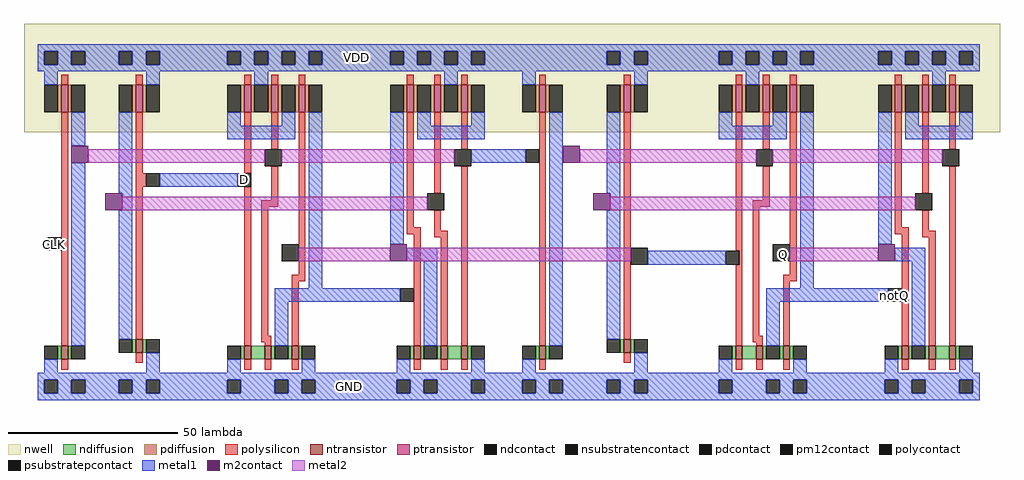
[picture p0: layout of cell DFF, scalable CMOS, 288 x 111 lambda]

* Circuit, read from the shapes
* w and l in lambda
.subckt DFF CLK D GND Q VDD notQ
M1 n1 CLK GND GND nfet w=4 l=2
M2 GND D n2 GND nfet w=4 l=2
M3 n3 D GND GND nfet w=4 l=2
M4 n4 n1 n3 GND nfet w=4 l=2
M5 GND n5 n4 GND nfet w=4 l=2
M6 n5 n4 GND GND nfet w=4 l=2
M7 n6 n2 n5 GND nfet w=4 l=2
M8 GND n1 n6 GND nfet w=4 l=2
M9 n7 n1 GND GND nfet w=4 l=2
M10 GND n5 n8 GND nfet w=4 l=2
M11 n9 n5 GND GND nfet w=4 l=2
M12 notQ n7 n9 GND nfet w=4 l=2
M13 GND Q notQ GND nfet w=4 l=2
M14 Q notQ GND GND nfet w=4 l=2
M15 n10 n8 Q GND nfet w=4 l=2
M16 GND n7 n10 GND nfet w=4 l=2
M17 n1 CLK VDD VDD pfet w=8 l=2
M18 VDD D n2 VDD pfet w=8 l=2
M19 VDD D n11 VDD pfet w=8 l=2
M20 n11 n1 VDD VDD pfet w=8 l=2
M21 n4 n5 n11 VDD pfet w=8 l=2
M22 n12 n4 n5 VDD pfet w=8 l=2
M23 VDD n2 n12 VDD pfet w=8 l=2
M24 n12 n1 VDD VDD pfet w=8 l=2
M25 n7 n1 VDD VDD pfet w=8 l=2
M26 VDD n5 n8 VDD pfet w=8 l=2
M27 VDD n5 n13 VDD pfet w=8 l=2
M28 n13 n7 VDD VDD pfet w=8 l=2
M29 notQ Q n13 VDD pfet w=8 l=2
M30 n14 notQ Q VDD pfet w=8 l=2
M31 VDD n8 n14 VDD pfet w=8 l=2
M32 n14 n7 VDD VDD pfet w=8 l=2
.ends

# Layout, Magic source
magic
tech scmos
<< nwell >>
rect -70 29 218 61
<< ntransistor >>
rect -59 -38 -57 -34
rect -37 -36 -35 -32
rect -5 -38 -3 -34
rect 1 -38 3 -34
rect 9 -38 11 -34
rect 45 -38 47 -34
rect 53 -38 55 -34
rect 59 -38 61 -34
rect 82 -38 84 -34
rect 107 -36 109 -32
rect 140 -38 142 -34
rect 146 -38 148 -34
rect 154 -38 156 -34
rect 189 -38 191 -34
rect 197 -38 199 -34
rect 203 -38 205 -34
<< ptransistor >>
rect -59 35 -57 43
rect -37 35 -35 43
rect -5 35 -3 43
rect 3 35 5 43
rect 11 35 13 43
rect 43 35 45 43
rect 51 35 53 43
rect 59 35 61 43
rect 82 35 84 43
rect 107 35 109 43
rect 140 35 142 43
rect 148 35 150 43
rect 156 35 158 43
rect 187 35 189 43
rect 195 35 197 43
rect 203 35 205 43
<< ndiffusion >>
rect -60 -38 -59 -34
rect -57 -38 -56 -34
rect -38 -36 -37 -32
rect -35 -36 -34 -32
rect -6 -38 -5 -34
rect -3 -38 1 -34
rect 3 -38 4 -34
rect 8 -38 9 -34
rect 11 -38 12 -34
rect 44 -38 45 -34
rect 47 -38 48 -34
rect 52 -38 53 -34
rect 55 -38 59 -34
rect 61 -38 62 -34
rect 81 -38 82 -34
rect 84 -38 85 -34
rect 106 -36 107 -32
rect 109 -36 110 -32
rect 139 -38 140 -34
rect 142 -38 146 -34
rect 148 -38 149 -34
rect 153 -38 154 -34
rect 156 -38 157 -34
rect 188 -38 189 -34
rect 191 -38 192 -34
rect 196 -38 197 -34
rect 199 -38 203 -34
rect 205 -38 206 -34
<< pdiffusion >>
rect -60 35 -59 43
rect -57 35 -56 43
rect -38 35 -37 43
rect -35 35 -34 43
rect -6 35 -5 43
rect -3 35 -2 43
rect 2 35 3 43
rect 5 35 6 43
rect 10 35 11 43
rect 13 35 14 43
rect 42 35 43 43
rect 45 35 46 43
rect 50 35 51 43
rect 53 35 54 43
rect 58 35 59 43
rect 61 35 62 43
rect 81 35 82 43
rect 84 35 85 43
rect 106 35 107 43
rect 109 35 110 43
rect 139 35 140 43
rect 142 35 143 43
rect 147 35 148 43
rect 150 35 151 43
rect 155 35 156 43
rect 158 35 159 43
rect 186 35 187 43
rect 189 35 190 43
rect 194 35 195 43
rect 197 35 198 43
rect 202 35 203 43
rect 205 35 206 43
<< ndcontact >>
rect -64 -38 -60 -34
rect -56 -38 -52 -34
rect -42 -36 -38 -32
rect -34 -36 -30 -32
rect -10 -38 -6 -34
rect 4 -38 8 -34
rect 12 -38 16 -34
rect 40 -38 44 -34
rect 48 -38 52 -34
rect 62 -38 66 -34
rect 77 -38 81 -34
rect 85 -38 89 -34
rect 102 -36 106 -32
rect 110 -36 114 -32
rect 135 -38 139 -34
rect 149 -38 153 -34
rect 157 -38 161 -34
rect 184 -38 188 -34
rect 192 -38 196 -34
rect 206 -38 210 -34
<< pdcontact >>
rect -64 35 -60 43
rect -56 35 -52 43
rect -42 35 -38 43
rect -34 35 -30 43
rect -10 35 -6 43
rect -2 35 2 43
rect 6 35 10 43
rect 14 35 18 43
rect 38 35 42 43
rect 46 35 50 43
rect 54 35 58 43
rect 62 35 66 43
rect 77 35 81 43
rect 85 35 89 43
rect 102 35 106 43
rect 110 35 114 43
rect 135 35 139 43
rect 143 35 147 43
rect 151 35 155 43
rect 159 35 163 43
rect 182 35 186 43
rect 190 35 194 43
rect 198 35 202 43
rect 206 35 210 43
<< psubstratepcontact >>
rect -64 -48 -60 -44
rect -56 -48 -52 -44
rect -42 -48 -38 -44
rect -34 -48 -30 -44
rect -10 -48 -6 -44
rect 4 -48 8 -44
rect 12 -48 16 -44
rect 40 -48 44 -44
rect 48 -48 52 -44
rect 62 -48 66 -44
rect 77 -48 81 -44
rect 85 -48 89 -44
rect 102 -48 106 -44
rect 110 -48 114 -44
rect 135 -48 139 -44
rect 149 -48 153 -44
rect 157 -48 161 -44
rect 184 -48 188 -44
rect 192 -48 196 -44
rect 206 -48 210 -44
<< nsubstratencontact >>
rect -64 49 -60 53
rect -56 49 -52 53
rect -42 49 -38 53
rect -34 49 -30 53
rect -10 49 -6 53
rect -2 49 2 53
rect 6 49 10 53
rect 14 49 18 53
rect 38 49 42 53
rect 46 49 50 53
rect 54 49 58 53
rect 62 49 66 53
rect 102 49 106 53
rect 110 49 114 53
rect 135 49 139 53
rect 143 49 147 53
rect 151 49 155 53
rect 159 49 163 53
rect 182 49 186 53
rect 190 49 194 53
rect 198 49 202 53
rect 206 49 210 53
<< polysilicon >>
rect -59 43 -57 46
rect -37 43 -35 46
rect -5 43 -3 46
rect 3 43 5 46
rect 11 43 13 46
rect 43 43 45 46
rect 51 43 53 46
rect 59 43 61 46
rect 82 43 84 46
rect 107 43 109 46
rect 140 43 142 46
rect 148 43 150 46
rect 156 43 158 46
rect 187 43 189 46
rect 195 43 197 46
rect 203 43 205 46
rect -59 -34 -57 35
rect -37 17 -35 35
rect -5 17 -3 35
rect 3 24 5 35
rect -37 13 -34 17
rect -37 -32 -35 13
rect -5 -34 -3 13
rect 3 9 5 19
rect 0 7 5 9
rect 0 -31 2 7
rect 11 -13 13 35
rect 43 1 45 35
rect 51 11 53 35
rect 59 24 61 35
rect 43 -1 47 1
rect 9 -15 13 -13
rect 0 -33 3 -31
rect 1 -34 3 -33
rect 9 -34 11 -15
rect 45 -34 47 -1
rect 51 0 53 6
rect 51 -2 55 0
rect 53 -34 55 -2
rect 59 -34 61 19
rect 82 -34 84 35
rect 107 -32 109 35
rect 140 -6 142 35
rect 148 24 150 35
rect 148 9 150 19
rect 141 -10 142 -6
rect -59 -41 -57 -38
rect -37 -39 -35 -36
rect 140 -34 142 -10
rect 145 7 150 9
rect 145 -31 147 7
rect 156 -13 158 35
rect 187 1 189 35
rect 195 11 197 35
rect 203 24 205 35
rect 187 -1 191 1
rect 154 -15 158 -13
rect 145 -33 148 -31
rect 146 -34 148 -33
rect 154 -34 156 -15
rect 189 -34 191 -1
rect 195 0 197 6
rect 195 -2 199 0
rect 197 -34 199 -2
rect 203 -34 205 19
rect -5 -41 -3 -38
rect 1 -41 3 -38
rect 9 -41 11 -38
rect 45 -41 47 -38
rect 53 -41 55 -38
rect 59 -41 61 -38
rect 82 -41 84 -38
rect 107 -39 109 -36
rect 140 -41 142 -38
rect 146 -41 148 -38
rect 154 -41 156 -38
rect 189 -41 191 -38
rect 197 -41 199 -38
rect 203 -41 205 -38
<< polycontact >>
rect -63 -6 -59 -2
rect -34 13 -30 17
rect -7 13 -3 17
rect 78 20 82 24
rect 41 -21 45 -17
rect 137 -10 141 -6
rect 185 -21 189 -17
<< metal1 >>
rect -66 53 212 55
rect -66 49 -64 53
rect -60 49 -56 53
rect -52 49 -42 53
rect -38 49 -34 53
rect -30 49 -10 53
rect -6 49 -2 53
rect 2 49 6 53
rect 10 49 14 53
rect 18 49 38 53
rect 42 49 46 53
rect 50 49 54 53
rect 58 49 62 53
rect 66 49 102 53
rect 106 49 110 53
rect 114 49 135 53
rect 139 49 143 53
rect 147 49 151 53
rect 155 49 159 53
rect 163 49 182 53
rect 186 49 190 53
rect 194 49 198 53
rect 202 49 206 53
rect 210 49 212 53
rect -66 47 212 49
rect -64 43 -60 47
rect -34 43 -30 47
rect -2 43 2 47
rect 54 43 58 47
rect 77 43 81 47
rect 110 43 114 47
rect 143 43 147 47
rect 198 43 202 47
rect -56 25 -52 35
rect -56 -34 -52 20
rect -42 11 -38 35
rect -10 31 -6 35
rect 6 31 10 35
rect -10 27 10 31
rect -30 13 -7 17
rect -41 6 -38 11
rect -42 -32 -38 6
rect 14 -17 18 35
rect 38 -4 42 35
rect 46 31 50 35
rect 62 31 66 35
rect 46 27 66 31
rect 62 20 78 24
rect 43 -9 52 -5
rect 4 -21 41 -17
rect 4 -34 8 -21
rect 48 -34 52 -9
rect 85 -34 89 35
rect 102 11 106 35
rect 135 31 139 35
rect 151 31 155 35
rect 135 27 155 31
rect 103 6 106 11
rect -64 -42 -60 -38
rect -34 -42 -30 -36
rect -10 -42 -6 -38
rect 12 -42 16 -38
rect 40 -42 44 -38
rect 62 -42 66 -38
rect 102 -32 106 6
rect 114 -10 137 -6
rect 159 -17 163 35
rect 182 -4 186 35
rect 190 31 194 35
rect 206 31 210 35
rect 190 27 210 31
rect 187 -9 196 -5
rect 149 -21 185 -17
rect 149 -34 153 -21
rect 192 -34 196 -9
rect 77 -42 81 -38
rect 110 -42 114 -36
rect 135 -42 139 -38
rect 157 -42 161 -38
rect 184 -42 188 -38
rect 206 -42 210 -38
rect -66 -44 212 -42
rect -66 -48 -64 -44
rect -60 -48 -56 -44
rect -52 -48 -42 -44
rect -38 -48 -34 -44
rect -30 -48 -10 -44
rect -6 -48 4 -44
rect 8 -48 12 -44
rect 16 -48 40 -44
rect 44 -48 48 -44
rect 52 -48 62 -44
rect 66 -48 77 -44
rect 81 -48 85 -44
rect 89 -48 102 -44
rect 106 -48 110 -44
rect 114 -48 135 -44
rect 139 -48 149 -44
rect 153 -48 157 -44
rect 161 -48 184 -44
rect 188 -48 192 -44
rect 196 -48 206 -44
rect 210 -48 212 -44
rect -66 -50 212 -48
<< m2contact >>
rect -56 20 -51 25
rect -46 6 -41 11
rect 38 -9 43 -4
rect 89 20 94 25
rect 98 6 103 11
rect 182 -9 187 -4
<< pm12contact >>
rect 1 19 6 24
rect 6 -9 11 -4
rect 57 19 62 24
rect 49 6 54 11
rect 146 19 151 24
rect 109 -10 114 -5
rect 151 -9 156 -4
rect 201 19 206 24
rect 193 6 198 11
<< metal2 >>
rect -51 20 1 24
rect 6 20 57 24
rect 94 20 146 24
rect 151 20 201 24
rect -41 6 49 10
rect 103 6 193 10
rect 11 -9 38 -5
rect 43 -9 109 -5
rect 156 -9 182 -5
<< labels >>
rlabel pm12contact 154 -7 154 -7 1 Q
rlabel polycontact 187 -19 187 -19 1 notQ
rlabel polycontact -5 15 -5 15 1 D
rlabel polycontact -61 -4 -61 -4 1 CLK
rlabel metal1 28 51 28 51 1 VDD
rlabel metal1 26 -46 26 -46 1 GND
<< end >>
